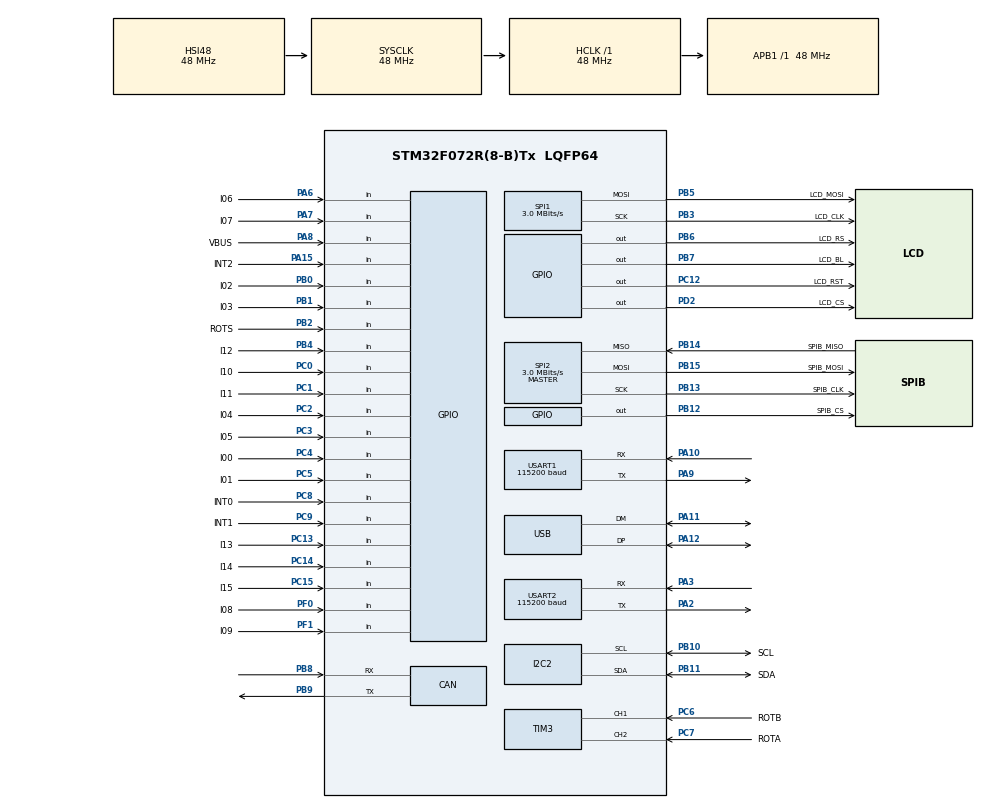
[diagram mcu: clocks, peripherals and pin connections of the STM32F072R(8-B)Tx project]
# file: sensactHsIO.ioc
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CAN.CalculateTimeQuantum=333.3333333333333
Dma.Request0=SPI1_TX
Dma.SPI1_TX.0.Direction=DMA_MEMORY_TO_PERIPH
Dma.SPI1_TX.0.Instance=DMA1_Channel3
Dma.SPI1_TX.0.MemDataAlignment=DMA_MDATAALIGN_BYTE
Dma.SPI1_TX.0.MemInc=DMA_MINC_ENABLE
Dma.SPI1_TX.0.Mode=DMA_NORMAL
Dma.SPI1_TX.0.PeriphDataAlignment=DMA_PDATAALIGN_BYTE
Dma.SPI1_TX.0.PeriphInc=DMA_PINC_DISABLE
Dma.SPI1_TX.0.Priority=DMA_PRIORITY_LOW
I2C2.OwnAddress=0x02
I2C2.Timing=0x20303E5D
Mcu.Family=STM32F0
Mcu.Name=STM32F072R(8-B)Tx
Mcu.Package=LQFP64
NVIC.DMA1_Channel2_3_IRQn=true\:0\:0\:false\:false\:true\:false\:true
NVIC.I2C2_IRQn=true\:0\:0\:false\:false\:true\:true\:true
PA10.Mode=Asynchronous
PA10.Signal=USART1_RX
PA11.Mode=Device
PA11.Signal=USB_DM
PA12.Mode=Device
PA12.Signal=USB_DP
PA13.Mode=Serial_Wire
PA13.Signal=SYS_SWDIO
PA14.Mode=Serial_Wire
PA14.Signal=SYS_SWCLK
PA15.GPIO_Label=INT2
PA15.Signal=GPIO_Input
PA2.Mode=Asynchronous
PA2.Signal=USART2_TX
PA3.Mode=Asynchronous
PA3.Signal=USART2_RX
PA6.GPIO_Label=I06
PA6.Signal=GPIO_Input
PA7.GPIO_Label=I07
PA7.Signal=GPIO_Input
PA8.GPIO_Label=VBUS
PA8.Signal=GPIO_Input
PA9.Mode=Asynchronous
PA9.Signal=USART1_TX
PB0.GPIO_Label=I02
PB0.Signal=GPIO_Input
PB1.GPIO_Label=I03
PB1.Signal=GPIO_Input
PB10.GPIO_Label=SCL
PB10.Mode=I2C
PB10.Signal=I2C2_SCL
PB11.GPIO_Label=SDA
PB11.Mode=I2C
PB11.Signal=I2C2_SDA
PB12.GPIO_Label=SPIB_CS
PB12.Signal=GPIO_Output
PB13.GPIO_Label=SPIB_CLK
PB13.Mode=Full_Duplex_Master
PB13.Signal=SPI2_SCK
PB14.GPIO_Label=SPIB_MISO
PB14.Mode=Full_Duplex_Master
PB14.Signal=SPI2_MISO
PB15.GPIO_Label=SPIB_MOSI
PB15.Mode=Full_Duplex_Master
PB15.Signal=SPI2_MOSI
PB2.GPIO_Label=ROTS
PB2.Signal=GPIO_Input
PB3.GPIO_Label=LCD_CLK
PB3.Mode=TX_Only_Simplex_Unidirect_Master
PB3.Signal=SPI1_SCK
PB4.GPIO_Label=I12
PB4.Signal=GPIO_Input
PB5.GPIO_Label=LCD_MOSI
PB5.Mode=TX_Only_Simplex_Unidirect_Master
PB5.Signal=SPI1_MOSI
PB6.GPIO_Label=LCD_RS
PB6.Signal=GPIO_Output
PB7.GPIO_Label=LCD_BL
PB7.Signal=GPIO_Output
PB8.Mode=Master
PB8.Signal=CAN_RX
PB9.Mode=Master
PB9.Signal=CAN_TX
PC0.GPIO_Label=I10
PC0.Signal=GPIO_Input
PC1.GPIO_Label=I11
PC1.Signal=GPIO_Input
PC12.GPIO_Label=LCD_RST
PC12.Signal=GPIO_Output
PC13.GPIO_Label=I13
PC13.Signal=GPIO_Input
PC14-OSC32_IN.GPIO_Label=I14
PC14-OSC32_IN.Signal=GPIO_Input
PC15-OSC32_OUT.GPIO_Label=I15
PC15-OSC32_OUT.Signal=GPIO_Input
PC2.GPIO_Label=I04
PC2.Signal=GPIO_Input
PC3.GPIO_Label=I05
PC3.Signal=GPIO_Input
PC4.GPIO_Label=I00
PC4.Signal=GPIO_Input
PC5.GPIO_Label=I01
PC5.Signal=GPIO_Input
PC6.GPIO_Label=ROTB
PC6.Signal=S_TIM3_CH1
PC7.GPIO_Label=ROTA
PC7.Signal=S_TIM3_CH2
PC8.GPIO_Label=INT0
PC8.Signal=GPIO_Input
PC9.GPIO_Label=INT1
PC9.Signal=GPIO_Input
PD2.GPIO_Label=LCD_CS
PD2.Signal=GPIO_Output
PF0-OSC_IN.GPIO_Label=I08
PF0-OSC_IN.Signal=GPIO_Input
PF1-OSC_OUT.GPIO_Label=I09
PF1-OSC_OUT.Signal=GPIO_Input
ProjectManager.HeapSize=0x200
ProjectManager.StackSize=0x400
ProjectManager.TargetToolchain=STM32CubeIDE
RCC.AHBFreq_Value=48000000
RCC.APB1Freq_Value=48000000
RCC.APB1TimFreq_Value=48000000
RCC.HCLKFreq_Value=48000000
RCC.SYSCLKFreq_VALUE=48000000
RCC.SYSCLKSource=RCC_SYSCLKSOURCE_HSI48
SH.S_TIM3_CH1.0=TIM3_CH1,Encoder_Interface
SH.S_TIM3_CH2.0=TIM3_CH2,Encoder_Interface
SPI1.BaudRatePrescaler=SPI_BAUDRATEPRESCALER_16
SPI1.CalculateBaudRate=3.0 MBits/s
SPI1.DataSize=SPI_DATASIZE_8BIT
SPI1.Direction=SPI_DIRECTION_2LINES
SPI1.Mode=SPI_MODE_MASTER
SPI1.VirtualType=VM_MASTER
SPI2.BaudRatePrescaler=SPI_BAUDRATEPRESCALER_16
SPI2.CalculateBaudRate=3.0 MBits/s
SPI2.DataSize=SPI_DATASIZE_8BIT
SPI2.Direction=SPI_DIRECTION_2LINES
SPI2.Mode=SPI_MODE_MASTER
SPI2.VirtualType=VM_MASTER
USART1.BaudRate=115200
USART1.VirtualMode-Asynchronous=VM_ASYNC
USART2.BaudRate=115200
USART2.VirtualMode-Asynchronous=VM_ASYNC
board=custom

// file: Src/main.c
/* USER CODE BEGIN Header */
/**
 ******************************************************************************
 * @file           : main.c
 * @brief          : Main program body
 ******************************************************************************
 * @attention
 *
 * <h2><center>&copy; Copyright (c) 2019 STMicroelectronics.
 * All rights reserved.</center></h2>
 *
 * This software component is licensed by ST under BSD 3-Clause license,
 * the "License"; You may not use this file except in compliance with the
 * License. You may obtain a copy of the License at:
 *                        opensource.org/licenses/BSD-3-Clause
 *
 ******************************************************************************
 */
/* USER CODE END Header */

#include "main.h"

/* USER CODE BEGIN Includes */
#include "stdio.h"
#include "_settings/sensactHsIO_settings.hh"
#include "mastercontroller.hh"
#include "st7735/st7735.h"

/* USER CODE END Includes */

/* USER CODE BEGIN PM */
#define CONSOLE_USART USART2
#ifdef __GNUC__
/* With GCC, small printf (option LD Linker->Libraries->Small printf
   set to 'Yes') calls __io_putchar() */
int __io_putchar(int ch)
#else
int fputc(int ch, FILE *f)
#endif /* __GNUC__ */
{
	while (!LL_USART_IsActiveFlag_TXE(CONSOLE_USART))
	{
		__NOP();
	}
	LL_USART_TransmitData8(CONSOLE_USART, ch);
	return ch;
}
/* USER CODE END PM */

CAN_HandleTypeDef hcan;

PCD_HandleTypeDef hpcd_USB_FS;

void SystemClock_Config(void);
static void MX_GPIO_Init(void);
static void MX_DMA_Init(void);
static void MX_CAN_Init(void);
static void MX_TIM3_Init(void);
static void MX_USB_PCD_Init(void);
static void MX_I2C2_Init(void);
static void MX_SPI1_Init(void);
static void MX_SPI2_Init(void);
static void MX_USART1_UART_Init(void);
static void MX_USART2_UART_Init(void);

int main(void)
{

  /* MCU Configuration--------------------------------------------------------*/

  /* Reset of all peripherals, Initializes the Flash interface and the Systick. */
  HAL_Init();

  /* Configure the system clock */
  SystemClock_Config();

  /* Initialize all configured peripherals */
  MX_GPIO_Init();
  MX_DMA_Init();
  MX_CAN_Init();
  MX_TIM3_Init();
  MX_USB_PCD_Init();
  MX_I2C2_Init();
  MX_SPI1_Init();
  MX_SPI2_Init();
  MX_USART1_UART_Init();
  MX_USART2_UART_Init();
  /* USER CODE BEGIN 2 */
  printf("SensactHsIO Ready, build__DATE__\n");
  maincc();
  /* USER CODE END 2 */

  /* Infinite loop */
	while (1)
	{

	}
}

void SystemClock_Config(void)
{
  RCC_OscInitTypeDef RCC_OscInitStruct = {0};
  RCC_ClkInitTypeDef RCC_ClkInitStruct = {0};
  RCC_PeriphCLKInitTypeDef PeriphClkInit = {0};

  /** Initializes the CPU, AHB and APB busses clocks
  */
  RCC_OscInitStruct.OscillatorType = RCC_OSCILLATORTYPE_HSI48;
  RCC_OscInitStruct.HSI48State = RCC_HSI48_ON;
  RCC_OscInitStruct.PLL.PLLState = RCC_PLL_NONE;
  if (HAL_RCC_OscConfig(&RCC_OscInitStruct) != HAL_OK)
  {
    Error_Handler();
  }
  /** Initializes the CPU, AHB and APB busses clocks
  */
  RCC_ClkInitStruct.ClockType = RCC_CLOCKTYPE_HCLK|RCC_CLOCKTYPE_SYSCLK
                              |RCC_CLOCKTYPE_PCLK1;
  RCC_ClkInitStruct.SYSCLKSource = RCC_SYSCLKSOURCE_HSI48;
  RCC_ClkInitStruct.AHBCLKDivider = RCC_SYSCLK_DIV1;
  RCC_ClkInitStruct.APB1CLKDivider = RCC_HCLK_DIV1;

  if (HAL_RCC_ClockConfig(&RCC_ClkInitStruct, FLASH_LATENCY_1) != HAL_OK)
  {
    Error_Handler();
  }
  PeriphClkInit.PeriphClockSelection = RCC_PERIPHCLK_USB|RCC_PERIPHCLK_USART1
                              |RCC_PERIPHCLK_USART2;
  PeriphClkInit.Usart1ClockSelection = RCC_USART1CLKSOURCE_PCLK1;
  PeriphClkInit.Usart2ClockSelection = RCC_USART2CLKSOURCE_PCLK1;
  PeriphClkInit.UsbClockSelection = RCC_USBCLKSOURCE_HSI48;

  if (HAL_RCCEx_PeriphCLKConfig(&PeriphClkInit) != HAL_OK)
  {
    Error_Handler();
  }
}

static void MX_CAN_Init(void)
{

  hcan.Instance = CAN;
  hcan.Init.Prescaler = 16;
  hcan.Init.Mode = CAN_MODE_NORMAL;
  hcan.Init.SyncJumpWidth = CAN_SJW_1TQ;
  hcan.Init.TimeSeg1 = CAN_BS1_1TQ;
  hcan.Init.TimeSeg2 = CAN_BS2_1TQ;
  hcan.Init.TimeTriggeredMode = DISABLE;
  hcan.Init.AutoBusOff = DISABLE;
  hcan.Init.AutoWakeUp = DISABLE;
  hcan.Init.AutoRetransmission = DISABLE;
  hcan.Init.ReceiveFifoLocked = DISABLE;
  hcan.Init.TransmitFifoPriority = DISABLE;
  if (HAL_CAN_Init(&hcan) != HAL_OK)
  {
    Error_Handler();
  }

}

static void MX_I2C2_Init(void)
{

  LL_I2C_InitTypeDef I2C_InitStruct = {0};

  LL_GPIO_InitTypeDef GPIO_InitStruct = {0};

  LL_AHB1_GRP1_EnableClock(LL_AHB1_GRP1_PERIPH_GPIOB);
  /**I2C2 GPIO Configuration
  PB10   ------> I2C2_SCL
  PB11   ------> I2C2_SDA
  */
  GPIO_InitStruct.Pin = SCL_Pin;
  GPIO_InitStruct.Mode = LL_GPIO_MODE_ALTERNATE;
  GPIO_InitStruct.Speed = LL_GPIO_SPEED_FREQ_HIGH;
  GPIO_InitStruct.OutputType = LL_GPIO_OUTPUT_OPENDRAIN;
  GPIO_InitStruct.Pull = LL_GPIO_PULL_UP;
  GPIO_InitStruct.Alternate = LL_GPIO_AF_1;
  LL_GPIO_Init(SCL_GPIO_Port, &GPIO_InitStruct);

  GPIO_InitStruct.Pin = SDA_Pin;
  GPIO_InitStruct.Mode = LL_GPIO_MODE_ALTERNATE;
  GPIO_InitStruct.Speed = LL_GPIO_SPEED_FREQ_HIGH;
  GPIO_InitStruct.OutputType = LL_GPIO_OUTPUT_OPENDRAIN;
  GPIO_InitStruct.Pull = LL_GPIO_PULL_UP;
  GPIO_InitStruct.Alternate = LL_GPIO_AF_1;
  LL_GPIO_Init(SDA_GPIO_Port, &GPIO_InitStruct);

  /* Peripheral clock enable */
  LL_APB1_GRP1_EnableClock(LL_APB1_GRP1_PERIPH_I2C2);

  /* I2C2 interrupt Init */
  NVIC_SetPriority(I2C2_IRQn, 0);
  NVIC_EnableIRQ(I2C2_IRQn);

  /** I2C Initialization
  */
  LL_I2C_DisableOwnAddress2(I2C2);
  LL_I2C_DisableGeneralCall(I2C2);
  LL_I2C_EnableClockStretching(I2C2);
  I2C_InitStruct.PeripheralMode = LL_I2C_MODE_I2C;
  I2C_InitStruct.Timing = 0x20303E5D;
  I2C_InitStruct.AnalogFilter = LL_I2C_ANALOGFILTER_ENABLE;
  I2C_InitStruct.DigitalFilter = 0;
  I2C_InitStruct.OwnAddress1 = 4;
  I2C_InitStruct.TypeAcknowledge = LL_I2C_ACK;
  I2C_InitStruct.OwnAddrSize = LL_I2C_OWNADDRESS1_7BIT;
  LL_I2C_Init(I2C2, &I2C_InitStruct);
  LL_I2C_EnableAutoEndMode(I2C2);
  LL_I2C_SetOwnAddress2(I2C2, 0, LL_I2C_OWNADDRESS2_NOMASK);
  /* USER CODE BEGIN I2C2_Init 2 */

	//  LL_I2C_EnableIT_ADDR(I2C2);
	//  LL_I2C_EnableIT_NACK(I2C2);
	//  LL_I2C_EnableIT_ERR(I2C2);
	//  LL_I2C_EnableIT_STOP(I2C2);

  /* USER CODE END I2C2_Init 2 */

}

static void MX_SPI1_Init(void)
{

  LL_SPI_InitTypeDef SPI_InitStruct = {0};

  LL_GPIO_InitTypeDef GPIO_InitStruct = {0};

  /* Peripheral clock enable */
  LL_APB1_GRP2_EnableClock(LL_APB1_GRP2_PERIPH_SPI1);

  LL_AHB1_GRP1_EnableClock(LL_AHB1_GRP1_PERIPH_GPIOB);
  /**SPI1 GPIO Configuration
  PB3   ------> SPI1_SCK
  PB5   ------> SPI1_MOSI
  */
  GPIO_InitStruct.Pin = LCD_CLK_Pin;
  GPIO_InitStruct.Mode = LL_GPIO_MODE_ALTERNATE;
  GPIO_InitStruct.Speed = LL_GPIO_SPEED_FREQ_HIGH;
  GPIO_InitStruct.OutputType = LL_GPIO_OUTPUT_PUSHPULL;
  GPIO_InitStruct.Pull = LL_GPIO_PULL_NO;
  GPIO_InitStruct.Alternate = LL_GPIO_AF_0;
  LL_GPIO_Init(LCD_CLK_GPIO_Port, &GPIO_InitStruct);

  GPIO_InitStruct.Pin = LCD_MOSI_Pin;
  GPIO_InitStruct.Mode = LL_GPIO_MODE_ALTERNATE;
  GPIO_InitStruct.Speed = LL_GPIO_SPEED_FREQ_HIGH;
  GPIO_InitStruct.OutputType = LL_GPIO_OUTPUT_PUSHPULL;
  GPIO_InitStruct.Pull = LL_GPIO_PULL_NO;
  GPIO_InitStruct.Alternate = LL_GPIO_AF_0;
  LL_GPIO_Init(LCD_MOSI_GPIO_Port, &GPIO_InitStruct);

  /* SPI1 DMA Init */

  /* SPI1_TX Init */
  LL_DMA_SetDataTransferDirection(DMA1, LL_DMA_CHANNEL_3, LL_DMA_DIRECTION_MEMORY_TO_PERIPH);

  LL_DMA_SetChannelPriorityLevel(DMA1, LL_DMA_CHANNEL_3, LL_DMA_PRIORITY_LOW);

  LL_DMA_SetMode(DMA1, LL_DMA_CHANNEL_3, LL_DMA_MODE_NORMAL);

  LL_DMA_SetPeriphIncMode(DMA1, LL_DMA_CHANNEL_3, LL_DMA_PERIPH_NOINCREMENT);

  LL_DMA_SetMemoryIncMode(DMA1, LL_DMA_CHANNEL_3, LL_DMA_MEMORY_INCREMENT);

  LL_DMA_SetPeriphSize(DMA1, LL_DMA_CHANNEL_3, LL_DMA_PDATAALIGN_BYTE);

  LL_DMA_SetMemorySize(DMA1, LL_DMA_CHANNEL_3, LL_DMA_MDATAALIGN_BYTE);

  /* SPI1 parameter configuration*/
  SPI_InitStruct.TransferDirection = LL_SPI_FULL_DUPLEX;
  SPI_InitStruct.Mode = LL_SPI_MODE_MASTER;
  SPI_InitStruct.DataWidth = LL_SPI_DATAWIDTH_8BIT;
  SPI_InitStruct.ClockPolarity = LL_SPI_POLARITY_LOW;
  SPI_InitStruct.ClockPhase = LL_SPI_PHASE_1EDGE;
  SPI_InitStruct.NSS = LL_SPI_NSS_SOFT;
  SPI_InitStruct.BaudRate = LL_SPI_BAUDRATEPRESCALER_DIV16;
  SPI_InitStruct.BitOrder = LL_SPI_MSB_FIRST;
  SPI_InitStruct.CRCCalculation = LL_SPI_CRCCALCULATION_DISABLE;
  SPI_InitStruct.CRCPoly = 7;
  LL_SPI_Init(SPI1, &SPI_InitStruct);
  LL_SPI_SetStandard(SPI1, LL_SPI_PROTOCOL_MOTOROLA);
  LL_SPI_EnableNSSPulseMgt(SPI1);
  /* USER CODE BEGIN SPI1_Init 2 */
	LL_SPI_Enable(SPI1);
	LL_SPI_EnableDMAReq_TX(SPI1);
	LL_DMA_EnableIT_TC(DMA1, LL_DMA_CHANNEL_3);
	LL_DMA_EnableIT_TE(DMA1, LL_DMA_CHANNEL_3);
  /* USER CODE END SPI1_Init 2 */

}

static void MX_SPI2_Init(void)
{

  LL_SPI_InitTypeDef SPI_InitStruct = {0};

  LL_GPIO_InitTypeDef GPIO_InitStruct = {0};

  /* Peripheral clock enable */
  LL_APB1_GRP1_EnableClock(LL_APB1_GRP1_PERIPH_SPI2);

  LL_AHB1_GRP1_EnableClock(LL_AHB1_GRP1_PERIPH_GPIOB);
  /**SPI2 GPIO Configuration
  PB13   ------> SPI2_SCK
  PB14   ------> SPI2_MISO
  PB15   ------> SPI2_MOSI
  */
  GPIO_InitStruct.Pin = SPIB_CLK_Pin;
  GPIO_InitStruct.Mode = LL_GPIO_MODE_ALTERNATE;
  GPIO_InitStruct.Speed = LL_GPIO_SPEED_FREQ_HIGH;
  GPIO_InitStruct.OutputType = LL_GPIO_OUTPUT_PUSHPULL;
  GPIO_InitStruct.Pull = LL_GPIO_PULL_NO;
  GPIO_InitStruct.Alternate = LL_GPIO_AF_0;
  LL_GPIO_Init(SPIB_CLK_GPIO_Port, &GPIO_InitStruct);

  GPIO_InitStruct.Pin = SPIB_MISO_Pin;
  GPIO_InitStruct.Mode = LL_GPIO_MODE_ALTERNATE;
  GPIO_InitStruct.Speed = LL_GPIO_SPEED_FREQ_HIGH;
  GPIO_InitStruct.OutputType = LL_GPIO_OUTPUT_PUSHPULL;
  GPIO_InitStruct.Pull = LL_GPIO_PULL_NO;
  GPIO_InitStruct.Alternate = LL_GPIO_AF_0;
  LL_GPIO_Init(SPIB_MISO_GPIO_Port, &GPIO_InitStruct);

  GPIO_InitStruct.Pin = SPIB_MOSI_Pin;
  GPIO_InitStruct.Mode = LL_GPIO_MODE_ALTERNATE;
  GPIO_InitStruct.Speed = LL_GPIO_SPEED_FREQ_HIGH;
  GPIO_InitStruct.OutputType = LL_GPIO_OUTPUT_PUSHPULL;
  GPIO_InitStruct.Pull = LL_GPIO_PULL_NO;
  GPIO_InitStruct.Alternate = LL_GPIO_AF_0;
  LL_GPIO_Init(SPIB_MOSI_GPIO_Port, &GPIO_InitStruct);

  /* SPI2 parameter configuration*/
  SPI_InitStruct.TransferDirection = LL_SPI_FULL_DUPLEX;
  SPI_InitStruct.Mode = LL_SPI_MODE_MASTER;
  SPI_InitStruct.DataWidth = LL_SPI_DATAWIDTH_8BIT;
  SPI_InitStruct.ClockPolarity = LL_SPI_POLARITY_LOW;
  SPI_InitStruct.ClockPhase = LL_SPI_PHASE_1EDGE;
  SPI_InitStruct.NSS = LL_SPI_NSS_SOFT;
  SPI_InitStruct.BaudRate = LL_SPI_BAUDRATEPRESCALER_DIV16;
  SPI_InitStruct.BitOrder = LL_SPI_MSB_FIRST;
  SPI_InitStruct.CRCCalculation = LL_SPI_CRCCALCULATION_DISABLE;
  SPI_InitStruct.CRCPoly = 7;
  LL_SPI_Init(SPI2, &SPI_InitStruct);
  LL_SPI_SetStandard(SPI2, LL_SPI_PROTOCOL_MOTOROLA);
  LL_SPI_EnableNSSPulseMgt(SPI2);

}

static void MX_TIM3_Init(void)
{

  LL_TIM_InitTypeDef TIM_InitStruct = {0};

  LL_GPIO_InitTypeDef GPIO_InitStruct = {0};

  /* Peripheral clock enable */
  LL_APB1_GRP1_EnableClock(LL_APB1_GRP1_PERIPH_TIM3);

  LL_AHB1_GRP1_EnableClock(LL_AHB1_GRP1_PERIPH_GPIOC);
  /**TIM3 GPIO Configuration
  PC6   ------> TIM3_CH1
  PC7   ------> TIM3_CH2
  */
  GPIO_InitStruct.Pin = ROTB_Pin;
  GPIO_InitStruct.Mode = LL_GPIO_MODE_ALTERNATE;
  GPIO_InitStruct.Speed = LL_GPIO_SPEED_FREQ_LOW;
  GPIO_InitStruct.OutputType = LL_GPIO_OUTPUT_PUSHPULL;
  GPIO_InitStruct.Pull = LL_GPIO_PULL_NO;
  GPIO_InitStruct.Alternate = LL_GPIO_AF_0;
  LL_GPIO_Init(ROTB_GPIO_Port, &GPIO_InitStruct);

  GPIO_InitStruct.Pin = ROTA_Pin;
  GPIO_InitStruct.Mode = LL_GPIO_MODE_ALTERNATE;
  GPIO_InitStruct.Speed = LL_GPIO_SPEED_FREQ_LOW;
  GPIO_InitStruct.OutputType = LL_GPIO_OUTPUT_PUSHPULL;
  GPIO_InitStruct.Pull = LL_GPIO_PULL_NO;
  GPIO_InitStruct.Alternate = LL_GPIO_AF_0;
  LL_GPIO_Init(ROTA_GPIO_Port, &GPIO_InitStruct);

  LL_TIM_SetEncoderMode(TIM3, LL_TIM_ENCODERMODE_X2_TI1);
  LL_TIM_IC_SetActiveInput(TIM3, LL_TIM_CHANNEL_CH1, LL_TIM_ACTIVEINPUT_DIRECTTI);
  LL_TIM_IC_SetPrescaler(TIM3, LL_TIM_CHANNEL_CH1, LL_TIM_ICPSC_DIV1);
  LL_TIM_IC_SetFilter(TIM3, LL_TIM_CHANNEL_CH1, LL_TIM_IC_FILTER_FDIV1);
  LL_TIM_IC_SetPolarity(TIM3, LL_TIM_CHANNEL_CH1, LL_TIM_IC_POLARITY_RISING);
  LL_TIM_IC_SetActiveInput(TIM3, LL_TIM_CHANNEL_CH2, LL_TIM_ACTIVEINPUT_DIRECTTI);
  LL_TIM_IC_SetPrescaler(TIM3, LL_TIM_CHANNEL_CH2, LL_TIM_ICPSC_DIV1);
  LL_TIM_IC_SetFilter(TIM3, LL_TIM_CHANNEL_CH2, LL_TIM_IC_FILTER_FDIV1);
  LL_TIM_IC_SetPolarity(TIM3, LL_TIM_CHANNEL_CH2, LL_TIM_IC_POLARITY_RISING);
  TIM_InitStruct.Prescaler = 0;
  TIM_InitStruct.CounterMode = LL_TIM_COUNTERMODE_UP;
  TIM_InitStruct.Autoreload = 0;
  TIM_InitStruct.ClockDivision = LL_TIM_CLOCKDIVISION_DIV1;
  LL_TIM_Init(TIM3, &TIM_InitStruct);
  LL_TIM_DisableARRPreload(TIM3);
  LL_TIM_SetTriggerOutput(TIM3, LL_TIM_TRGO_RESET);
  LL_TIM_DisableMasterSlaveMode(TIM3);

}

static void MX_USART1_UART_Init(void)
{

  LL_USART_InitTypeDef USART_InitStruct = {0};

  LL_GPIO_InitTypeDef GPIO_InitStruct = {0};

  /* Peripheral clock enable */
  LL_APB1_GRP2_EnableClock(LL_APB1_GRP2_PERIPH_USART1);

  LL_AHB1_GRP1_EnableClock(LL_AHB1_GRP1_PERIPH_GPIOA);
  /**USART1 GPIO Configuration
  PA9   ------> USART1_TX
  PA10   ------> USART1_RX
  */
  GPIO_InitStruct.Pin = LL_GPIO_PIN_9;
  GPIO_InitStruct.Mode = LL_GPIO_MODE_ALTERNATE;
  GPIO_InitStruct.Speed = LL_GPIO_SPEED_FREQ_HIGH;
  GPIO_InitStruct.OutputType = LL_GPIO_OUTPUT_PUSHPULL;
  GPIO_InitStruct.Pull = LL_GPIO_PULL_NO;
  GPIO_InitStruct.Alternate = LL_GPIO_AF_1;
  LL_GPIO_Init(GPIOA, &GPIO_InitStruct);

  GPIO_InitStruct.Pin = LL_GPIO_PIN_10;
  GPIO_InitStruct.Mode = LL_GPIO_MODE_ALTERNATE;
  GPIO_InitStruct.Speed = LL_GPIO_SPEED_FREQ_HIGH;
  GPIO_InitStruct.OutputType = LL_GPIO_OUTPUT_PUSHPULL;
  GPIO_InitStruct.Pull = LL_GPIO_PULL_NO;
  GPIO_InitStruct.Alternate = LL_GPIO_AF_1;
  LL_GPIO_Init(GPIOA, &GPIO_InitStruct);

  USART_InitStruct.BaudRate = 115200;
  USART_InitStruct.DataWidth = LL_USART_DATAWIDTH_8B;
  USART_InitStruct.StopBits = LL_USART_STOPBITS_1;
  USART_InitStruct.Parity = LL_USART_PARITY_NONE;
  USART_InitStruct.TransferDirection = LL_USART_DIRECTION_TX_RX;
  USART_InitStruct.HardwareFlowControl = LL_USART_HWCONTROL_NONE;
  USART_InitStruct.OverSampling = LL_USART_OVERSAMPLING_16;
  LL_USART_Init(USART1, &USART_InitStruct);
  LL_USART_DisableIT_CTS(USART1);
  LL_USART_ConfigAsyncMode(USART1);
  LL_USART_Enable(USART1);

}

static void MX_USART2_UART_Init(void)
{

  LL_USART_InitTypeDef USART_InitStruct = {0};

  LL_GPIO_InitTypeDef GPIO_InitStruct = {0};

  /* Peripheral clock enable */
  LL_APB1_GRP1_EnableClock(LL_APB1_GRP1_PERIPH_USART2);

  LL_AHB1_GRP1_EnableClock(LL_AHB1_GRP1_PERIPH_GPIOA);
  /**USART2 GPIO Configuration
  PA2   ------> USART2_TX
  PA3   ------> USART2_RX
  */
  GPIO_InitStruct.Pin = LL_GPIO_PIN_2;
  GPIO_InitStruct.Mode = LL_GPIO_MODE_ALTERNATE;
  GPIO_InitStruct.Speed = LL_GPIO_SPEED_FREQ_HIGH;
  GPIO_InitStruct.OutputType = LL_GPIO_OUTPUT_PUSHPULL;
  GPIO_InitStruct.Pull = LL_GPIO_PULL_NO;
  GPIO_InitStruct.Alternate = LL_GPIO_AF_1;
  LL_GPIO_Init(GPIOA, &GPIO_InitStruct);

  GPIO_InitStruct.Pin = LL_GPIO_PIN_3;
  GPIO_InitStruct.Mode = LL_GPIO_MODE_ALTERNATE;
  GPIO_InitStruct.Speed = LL_GPIO_SPEED_FREQ_HIGH;
  GPIO_InitStruct.OutputType = LL_GPIO_OUTPUT_PUSHPULL;
  GPIO_InitStruct.Pull = LL_GPIO_PULL_NO;
  GPIO_InitStruct.Alternate = LL_GPIO_AF_1;
  LL_GPIO_Init(GPIOA, &GPIO_InitStruct);

  USART_InitStruct.BaudRate = 115200;
  USART_InitStruct.DataWidth = LL_USART_DATAWIDTH_8B;
  USART_InitStruct.StopBits = LL_USART_STOPBITS_1;
  USART_InitStruct.Parity = LL_USART_PARITY_NONE;
  USART_InitStruct.TransferDirection = LL_USART_DIRECTION_TX_RX;
  USART_InitStruct.HardwareFlowControl = LL_USART_HWCONTROL_NONE;
  USART_InitStruct.OverSampling = LL_USART_OVERSAMPLING_16;
  LL_USART_Init(USART2, &USART_InitStruct);
  LL_USART_DisableIT_CTS(USART2);
  LL_USART_ConfigAsyncMode(USART2);
  LL_USART_Enable(USART2);

}

static void MX_USB_PCD_Init(void)
{

  hpcd_USB_FS.Instance = USB;
  hpcd_USB_FS.Init.dev_endpoints = 8;
  hpcd_USB_FS.Init.speed = PCD_SPEED_FULL;
  hpcd_USB_FS.Init.phy_itface = PCD_PHY_EMBEDDED;
  hpcd_USB_FS.Init.low_power_enable = DISABLE;
  hpcd_USB_FS.Init.lpm_enable = DISABLE;
  hpcd_USB_FS.Init.battery_charging_enable = DISABLE;
  if (HAL_PCD_Init(&hpcd_USB_FS) != HAL_OK)
  {
    Error_Handler();
  }

}

static void MX_DMA_Init(void)
{

  /* Init with LL driver */
  /* DMA controller clock enable */
  LL_AHB1_GRP1_EnableClock(LL_AHB1_GRP1_PERIPH_DMA1);

  /* DMA interrupt init */
  /* DMA1_Channel2_3_IRQn interrupt configuration */
  NVIC_SetPriority(DMA1_Channel2_3_IRQn, 0);
  NVIC_EnableIRQ(DMA1_Channel2_3_IRQn);

}

static void MX_GPIO_Init(void)
{
  LL_GPIO_InitTypeDef GPIO_InitStruct = {0};

  /* GPIO Ports Clock Enable */
  LL_AHB1_GRP1_EnableClock(LL_AHB1_GRP1_PERIPH_GPIOC);
  LL_AHB1_GRP1_EnableClock(LL_AHB1_GRP1_PERIPH_GPIOF);
  LL_AHB1_GRP1_EnableClock(LL_AHB1_GRP1_PERIPH_GPIOA);
  LL_AHB1_GRP1_EnableClock(LL_AHB1_GRP1_PERIPH_GPIOB);
  LL_AHB1_GRP1_EnableClock(LL_AHB1_GRP1_PERIPH_GPIOD);

  /**/
  LL_GPIO_ResetOutputPin(SPIB_CS_GPIO_Port, SPIB_CS_Pin);

  /**/
  LL_GPIO_ResetOutputPin(LCD_RST_GPIO_Port, LCD_RST_Pin);

  /**/
  LL_GPIO_ResetOutputPin(LCD_CS_GPIO_Port, LCD_CS_Pin);

  /**/
  LL_GPIO_ResetOutputPin(LCD_RS_GPIO_Port, LCD_RS_Pin);

  /**/
  LL_GPIO_ResetOutputPin(LCD_BL_GPIO_Port, LCD_BL_Pin);

  /**/
  GPIO_InitStruct.Pin = I13_Pin;
  GPIO_InitStruct.Mode = LL_GPIO_MODE_INPUT;
  GPIO_InitStruct.Pull = LL_GPIO_PULL_NO;
  LL_GPIO_Init(I13_GPIO_Port, &GPIO_InitStruct);

  /**/
  GPIO_InitStruct.Pin = I14_Pin;
  GPIO_InitStruct.Mode = LL_GPIO_MODE_INPUT;
  GPIO_InitStruct.Pull = LL_GPIO_PULL_NO;
  LL_GPIO_Init(I14_GPIO_Port, &GPIO_InitStruct);

  /**/
  GPIO_InitStruct.Pin = I15_Pin;
  GPIO_InitStruct.Mode = LL_GPIO_MODE_INPUT;
  GPIO_InitStruct.Pull = LL_GPIO_PULL_NO;
  LL_GPIO_Init(I15_GPIO_Port, &GPIO_InitStruct);

  /**/
  GPIO_InitStruct.Pin = I08_Pin;
  GPIO_InitStruct.Mode = LL_GPIO_MODE_INPUT;
  GPIO_InitStruct.Pull = LL_GPIO_PULL_NO;
  LL_GPIO_Init(I08_GPIO_Port, &GPIO_InitStruct);

  /**/
  GPIO_InitStruct.Pin = I09_Pin;
  GPIO_InitStruct.Mode = LL_GPIO_MODE_INPUT;
  GPIO_InitStruct.Pull = LL_GPIO_PULL_NO;
  LL_GPIO_Init(I09_GPIO_Port, &GPIO_InitStruct);

  /**/
  GPIO_InitStruct.Pin = I10_Pin;
  GPIO_InitStruct.Mode = LL_GPIO_MODE_INPUT;
  GPIO_InitStruct.Pull = LL_GPIO_PULL_NO;
  LL_GPIO_Init(I10_GPIO_Port, &GPIO_InitStruct);

  /**/
  GPIO_InitStruct.Pin = I11_Pin;
  GPIO_InitStruct.Mode = LL_GPIO_MODE_INPUT;
  GPIO_InitStruct.Pull = LL_GPIO_PULL_NO;
  LL_GPIO_Init(I11_GPIO_Port, &GPIO_InitStruct);

  /**/
  GPIO_InitStruct.Pin = I04_Pin;
  GPIO_InitStruct.Mode = LL_GPIO_MODE_INPUT;
  GPIO_InitStruct.Pull = LL_GPIO_PULL_NO;
  LL_GPIO_Init(I04_GPIO_Port, &GPIO_InitStruct);

  /**/
  GPIO_InitStruct.Pin = I05_Pin;
  GPIO_InitStruct.Mode = LL_GPIO_MODE_INPUT;
  GPIO_InitStruct.Pull = LL_GPIO_PULL_NO;
  LL_GPIO_Init(I05_GPIO_Port, &GPIO_InitStruct);

  /**/
  GPIO_InitStruct.Pin = I06_Pin;
  GPIO_InitStruct.Mode = LL_GPIO_MODE_INPUT;
  GPIO_InitStruct.Pull = LL_GPIO_PULL_NO;
  LL_GPIO_Init(I06_GPIO_Port, &GPIO_InitStruct);

  /**/
  GPIO_InitStruct.Pin = I07_Pin;
  GPIO_InitStruct.Mode = LL_GPIO_MODE_INPUT;
  GPIO_InitStruct.Pull = LL_GPIO_PULL_NO;
  LL_GPIO_Init(I07_GPIO_Port, &GPIO_InitStruct);

  /**/
  GPIO_InitStruct.Pin = I00_Pin;
  GPIO_InitStruct.Mode = LL_GPIO_MODE_INPUT;
  GPIO_InitStruct.Pull = LL_GPIO_PULL_NO;
  LL_GPIO_Init(I00_GPIO_Port, &GPIO_InitStruct);

  /**/
  GPIO_InitStruct.Pin = I01_Pin;
  GPIO_InitStruct.Mode = LL_GPIO_MODE_INPUT;
  GPIO_InitStruct.Pull = LL_GPIO_PULL_NO;
  LL_GPIO_Init(I01_GPIO_Port, &GPIO_InitStruct);

  /**/
  GPIO_InitStruct.Pin = I02_Pin;
  GPIO_InitStruct.Mode = LL_GPIO_MODE_INPUT;
  GPIO_InitStruct.Pull = LL_GPIO_PULL_NO;
  LL_GPIO_Init(I02_GPIO_Port, &GPIO_InitStruct);

  /**/
  GPIO_InitStruct.Pin = I03_Pin;
  GPIO_InitStruct.Mode = LL_GPIO_MODE_INPUT;
  GPIO_InitStruct.Pull = LL_GPIO_PULL_NO;
  LL_GPIO_Init(I03_GPIO_Port, &GPIO_InitStruct);

  /**/
  GPIO_InitStruct.Pin = ROTS_Pin;
  GPIO_InitStruct.Mode = LL_GPIO_MODE_INPUT;
  GPIO_InitStruct.Pull = LL_GPIO_PULL_NO;
  LL_GPIO_Init(ROTS_GPIO_Port, &GPIO_InitStruct);

  /**/
  GPIO_InitStruct.Pin = SPIB_CS_Pin;
  GPIO_InitStruct.Mode = LL_GPIO_MODE_OUTPUT;
  GPIO_InitStruct.Speed = LL_GPIO_SPEED_FREQ_LOW;
  GPIO_InitStruct.OutputType = LL_GPIO_OUTPUT_PUSHPULL;
  GPIO_InitStruct.Pull = LL_GPIO_PULL_NO;
  LL_GPIO_Init(SPIB_CS_GPIO_Port, &GPIO_InitStruct);

  /**/
  GPIO_InitStruct.Pin = INT0_Pin;
  GPIO_InitStruct.Mode = LL_GPIO_MODE_INPUT;
  GPIO_InitStruct.Pull = LL_GPIO_PULL_NO;
  LL_GPIO_Init(INT0_GPIO_Port, &GPIO_InitStruct);

  /**/
  GPIO_InitStruct.Pin = INT1_Pin;
  GPIO_InitStruct.Mode = LL_GPIO_MODE_INPUT;
  GPIO_InitStruct.Pull = LL_GPIO_PULL_NO;
  LL_GPIO_Init(INT1_GPIO_Port, &GPIO_InitStruct);

  /**/
  GPIO_InitStruct.Pin = VBUS_Pin;
  GPIO_InitStruct.Mode = LL_GPIO_MODE_INPUT;
  GPIO_InitStruct.Pull = LL_GPIO_PULL_NO;
  LL_GPIO_Init(VBUS_GPIO_Port, &GPIO_InitStruct);

  /**/
  GPIO_InitStruct.Pin = INT2_Pin;
  GPIO_InitStruct.Mode = LL_GPIO_MODE_INPUT;
  GPIO_InitStruct.Pull = LL_GPIO_PULL_NO;
  LL_GPIO_Init(INT2_GPIO_Port, &GPIO_InitStruct);

  /**/
  GPIO_InitStruct.Pin = LCD_RST_Pin;
  GPIO_InitStruct.Mode = LL_GPIO_MODE_OUTPUT;
  GPIO_InitStruct.Speed = LL_GPIO_SPEED_FREQ_LOW;
  GPIO_InitStruct.OutputType = LL_GPIO_OUTPUT_PUSHPULL;
  GPIO_InitStruct.Pull = LL_GPIO_PULL_NO;
  LL_GPIO_Init(LCD_RST_GPIO_Port, &GPIO_InitStruct);

  /**/
  GPIO_InitStruct.Pin = LCD_CS_Pin;
  GPIO_InitStruct.Mode = LL_GPIO_MODE_OUTPUT;
  GPIO_InitStruct.Speed = LL_GPIO_SPEED_FREQ_LOW;
  GPIO_InitStruct.OutputType = LL_GPIO_OUTPUT_PUSHPULL;
  GPIO_InitStruct.Pull = LL_GPIO_PULL_NO;
  LL_GPIO_Init(LCD_CS_GPIO_Port, &GPIO_InitStruct);

  /**/
  GPIO_InitStruct.Pin = I12_Pin;
  GPIO_InitStruct.Mode = LL_GPIO_MODE_INPUT;
  GPIO_InitStruct.Pull = LL_GPIO_PULL_NO;
  LL_GPIO_Init(I12_GPIO_Port, &GPIO_InitStruct);

  /**/
  GPIO_InitStruct.Pin = LCD_RS_Pin;
  GPIO_InitStruct.Mode = LL_GPIO_MODE_OUTPUT;
  GPIO_InitStruct.Speed = LL_GPIO_SPEED_FREQ_LOW;
  GPIO_InitStruct.OutputType = LL_GPIO_OUTPUT_PUSHPULL;
  GPIO_InitStruct.Pull = LL_GPIO_PULL_NO;
  LL_GPIO_Init(LCD_RS_GPIO_Port, &GPIO_InitStruct);

  /**/
  GPIO_InitStruct.Pin = LCD_BL_Pin;
  GPIO_InitStruct.Mode = LL_GPIO_MODE_OUTPUT;
  GPIO_InitStruct.Speed = LL_GPIO_SPEED_FREQ_LOW;
  GPIO_InitStruct.OutputType = LL_GPIO_OUTPUT_PUSHPULL;
  GPIO_InitStruct.Pull = LL_GPIO_PULL_NO;
  LL_GPIO_Init(LCD_BL_GPIO_Port, &GPIO_InitStruct);

}

void Error_Handler(void)
{
}

#ifdef  USE_FULL_ASSERT
/**
  * @brief  Reports the name of the source file and the source line number
  *         where the assert_param error has occurred.
  * @param  file: pointer to the source file name
  * @param  line: assert_param error line source number
  * @retval None
  */
void assert_failed(char *file, uint32_t line)
{
  /* USER CODE BEGIN 6 */
	LL_USART_TransmitData8(USART2, "x");
	//tex: printf("Wrong parameters value: file %s on line %d\r\n", file, line) */
  /* USER CODE END 6 */
}
#endif /* USE_FULL_ASSERT */

/************************ (C) COPYRIGHT STMicroelectronics *****END OF FILE****/
